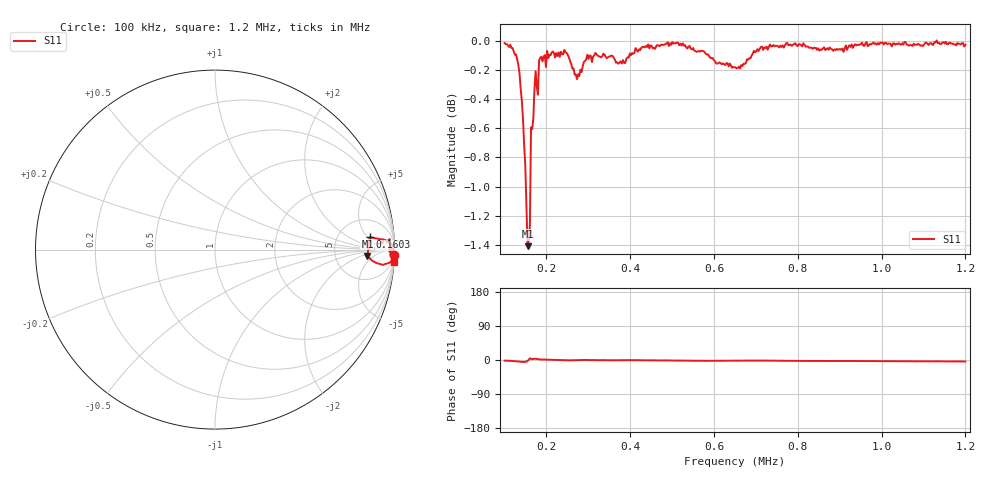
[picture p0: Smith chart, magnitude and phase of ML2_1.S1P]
!Agilent Technologies,E5071C,MY46100265,A.07.02
!Date: Wed Mar 04 14:21:20 2020
!Data & Calibration Information:
!Freq	S11:SOLT1(ON)
# Hz S RI R 50
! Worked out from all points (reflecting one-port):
!   402 points, 100 kHz to 1.2 MHz, reference 50 ohm
!   lowest |S11| = -1.4 dB at 154.9 kHz (marker M1), VSWR 12.35, Z = 580 - j147 ohm
!   phase of S11 starts at -2 deg and turns -2 deg over the sweep
!   S11 on the Smith chart (normalised r, x): 100 kHz: 4, -67; 160.3 kHz: 11, +6; 1.2 MHz: 1, -29
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100000  0.9978 -0.0295
113716  0.9962 -0.0388
130175  0.9834 -0.0618
138404  0.9597 -0.0775
143890  0.9364 -0.0852
149377  0.9027 -0.076
152120  0.876 -0.0623
154863  0.8495 -0.0352
160349  0.8616 0.0691
165835  0.9319 0.033
168579  0.9385 0.0569
174065  0.9746 0.0578
187781  0.9873 0.0184
239900  0.9893 -0.00473
259102  0.9816 -0.0143
272818  0.9702 -0.00705
283791  0.9756 0.00251
300249  0.9858 -0.00208
377057  0.9839 -0.00896
418204  0.9915 -0.00713
514214  0.9982 -0.0253
593766  0.9857 -0.0352
651372  0.9787 -0.0289
684289  0.9861 -0.0217
788529  0.9963 -0.0379
925686  0.9942 -0.0459
1062843  0.9949 -0.0575
1200000  0.9945 -0.0686
